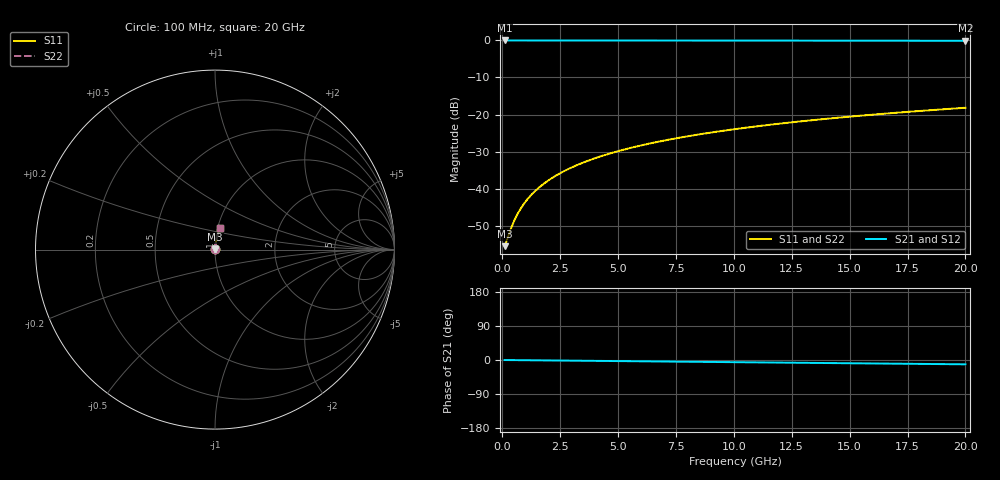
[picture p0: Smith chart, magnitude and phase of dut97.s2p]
! Touchstone file exported from HFSS 2026.1.0
!  File:  C:/ffzhzh/LocalFiles/Ansys_Project_Files/temp_train_TSV_97_1782959802_45568.aedt
!  Generated:  10:39:08 AM Jul  2, 2026
!  Design:  TSV
!  Project:  temp_train_TSV_97_1782959802_45568
! Variables:
!  h_bsmrdl = 2um
!  h_ox = 20um
!  h_rdl = 5um
!  h_sub = 89.71um
!  h_tmrdl = 5um
!  h_tsv = 89.71um
!  h_via = 3um
!  l_bsmrdl = 300um
!  l_sub = 405.18um
!  l_tmrdl = 200um
!  m_sub = 200um
!  pitch = 37.89um
!  r_tsv = 2.59um
!  s_tmrdl = 10um
!  w_bsmrdl = 18um
!  w_sub = 500um
!  w_tmrdl = 12um
!  x_tsv_center1 = 206um
!  x_tsv_center2 = 524um
!  x_tsv_center3 = 736um
!  x_tsv_center4 = 1054um
!  x_tsv_center5 = 1266um
!  x_tsv_center6 = 1584um
# GHz S MA R 50.000000
! Terminal data exported
! Port[1] = TSV1_1_T1
! Port[2] = TSV1_1_T2
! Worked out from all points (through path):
!   200 points, 100 MHz to 20 GHz, reference 50 ohm
!   highest |S21| = -0.01 dB at 100 MHz (marker M1); lowest = -0.1 dB at 20 GHz (marker M2)
!   group delay of S21, straight-line fit = 1.58 ps
!   lowest |S11| = -55.5 dB at 100 MHz (marker M3), VSWR 1.00, Z = 50.2 + j0.0653 ohm
!   |S11| at or under -10 dB: start of sweep to end of sweep
!   |S22| runs from -55.5 to -18.2 dB; largest |S21 - S12| = 2.1e-15
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0.1  0.001673 22.9  0.9985 -0.1  0.9985 -0.1  0.001673 22.9
! Gamma 0 0 0 0
! Port Impedance 50 0 50 0
0.4  0.003031 58.8  0.9984 -0.2  0.9984 -0.2  0.003031 58.8
0.5  0.003602 63.9  0.9984 -0.3  0.9984 -0.3  0.003602 63.9
0.6  0.004193 67.6  0.9984 -0.4  0.9984 -0.4  0.004193 67.6
0.7  0.004796 70.3  0.9984 -0.4  0.9984 -0.4  0.004796 70.3
0.9  0.006025 74.1  0.9984 -0.5  0.9984 -0.5  0.006025 74.1
1.1  0.007272 76.6  0.9984 -0.6  0.9984 -0.6  0.007272 76.6
1.3  0.00853 78.3  0.9983 -0.8  0.9983 -0.8  0.00853 78.3
1.7  0.01106 80.5  0.9983 -1.0  0.9983 -1.0  0.01106 80.5
2.2  0.01424 81.9  0.9982 -1.3  0.9982 -1.3  0.01424 81.9
2.8  0.01806 82.9  0.9981 -1.6  0.9981 -1.6  0.01806 82.9
3.5  0.02252 83.4  0.9979 -2.0  0.9979 -2.0  0.02252 83.4
4.2  0.02696 83.5  0.9977 -2.4  0.9977 -2.4  0.02696 83.5
5  0.03203 83.5  0.9975 -2.9  0.9975 -2.9  0.03203 83.5
5.9  0.03771 83.3  0.9971 -3.4  0.9971 -3.4  0.03771 83.3
6.8  0.04335 83.0  0.9968 -3.9  0.9968 -3.9  0.04335 83.0
8.3  0.05271 82.4  0.9961 -4.8  0.9961 -4.8  0.05271 82.4
10.1  0.06383 81.6  0.9951 -5.8  0.9951 -5.8  0.06383 81.6
11.7  0.07363 80.8  0.9942 -6.7  0.9942 -6.7  0.07363 80.8
13.4  0.08396 80.0  0.9931 -7.7  0.9931 -7.7  0.08396 80.0
16.7  0.1038 78.3  0.9907 -9.5  0.9907 -9.5  0.1038 78.3
20  0.1233 76.6  0.9881 -11.4  0.9881 -11.4  0.1233 76.6
